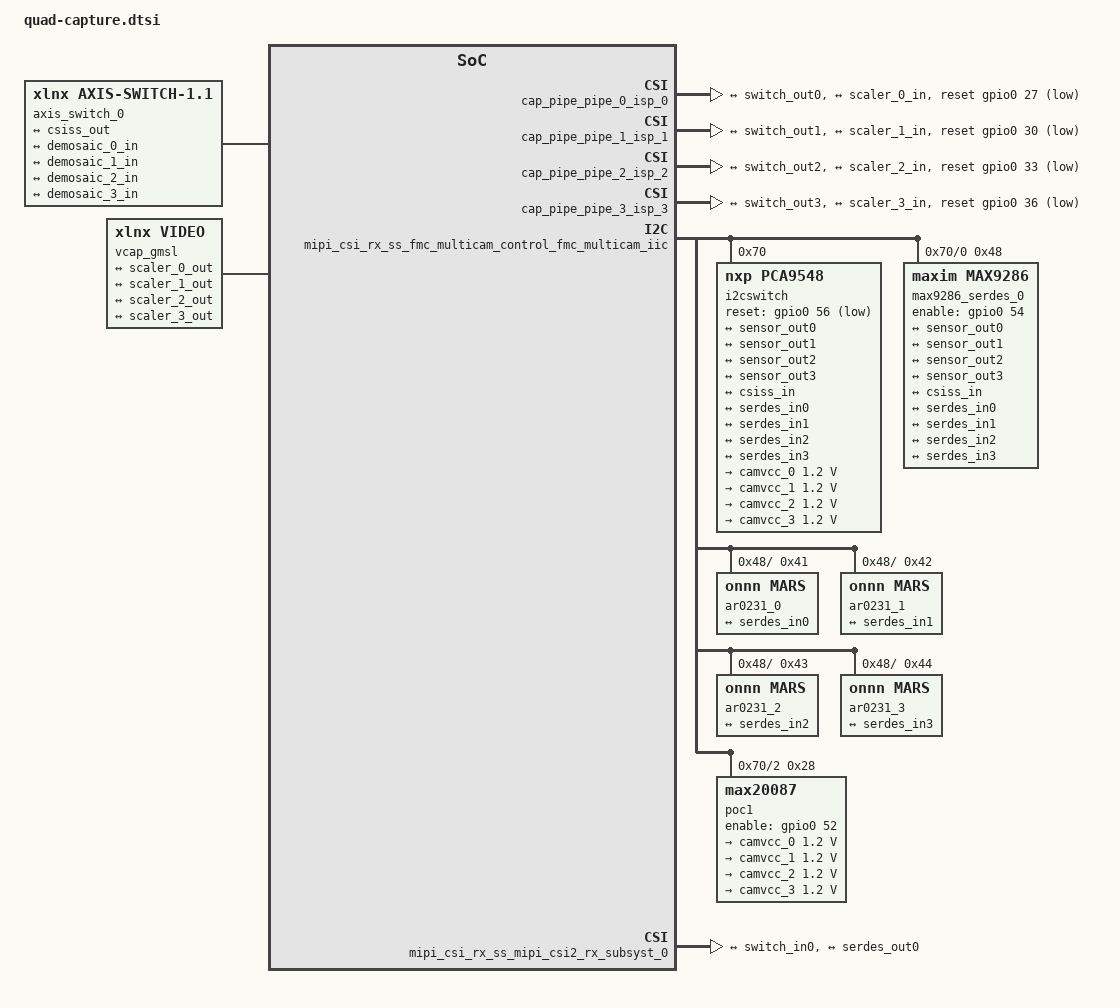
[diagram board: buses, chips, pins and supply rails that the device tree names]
#include <dt-bindings/media/xilinx-vip.h>

&amba_pl {
	cap_pipe_pipe_0_isp_0: isp@a40c0000 {
		clock-names = "ap_clk";
		clocks = <&misc_clk_0>;
		compatible = "xlnx,ISPPipeline_accel";
		reg = <0x0 0xa40c0000 0x0 0x10000>;
		reset-gpios = <&gpio0 27 1>;
		xlnx,max-height = <1080>;
		xlnx,max-width = <1920>;
		xlnx,rgain = <0xbe>;
		xlnx,bgain = <0x80>;
		xlnx,pawb = <0x200>;
		xlnx,mode-reg = <1>;
		xlnx,s-axi-ctrl-addr-width = <6>;
		xlnx,s-axi-ctrl-data-width = <32>;
		ports {
			#address-cells = <1>;
			#size-cells = <0>;

			port@0 {
				reg = <0>;

				xlnx,video-width = <10>;
				xlnx,cfa-pattern = "grbg";

				demosaic_0_in: endpoint {
					remote-endpoint = <&switch_out0>;
				};
			};

			port@1 {
				reg = <1>;

				xlnx,video-width = <8>;

				demosaic_0_out: endpoint {
					remote-endpoint = <&scaler_0_in>;
				};
			};
		};
	};
	cap_pipe_pipe_0_v_scaler_0: scaler@a4080000 {
		compatible = "xlnx,v-vpss-scaler-2.2";
		reg = <0x0 0xa4080000 0x0 0x40000>;
		clock-names = "aclk_axis", "aclk_ctrl";
		clocks = <&misc_clk_0>, <&misc_clk_0>;
		xlnx,num-hori-taps = <6>;
		xlnx,num-vert-taps = <6>;
		xlnx,pix-per-clk = <2>;
		reset-gpios = <&gpio0 28 1>;
		xlnx,max-width = <1920>;
		xlnx,max-height = <1080>;

		ports {
			#address-cells = <1>;
			#size-cells = <0>;

			port@0 {
				reg = <0>;
				xlnx,video-format = <XVIP_VF_RBG>;
				xlnx,video-width = <8>;

				scaler_0_in: endpoint {
				        remote-endpoint = <&demosaic_0_out>;
				};
			};
			port@1 {
				reg = <1>;
				xlnx,video-format = <XVIP_VF_YUV_422>;
				xlnx,video-width = <8>;

				scaler_0_out: endpoint {
				        remote-endpoint = <&vcap_gmsl_in0>;
				};
			};
		};
	};

	cap_pipe_pipe_0_v_frmbuf_wr_0: v_frmbuf_wr@a40D0000 {
		#dma-cells = <1>;
		clock-names = "ap_clk";
		clocks = <&misc_clk_0>;
		compatible = "xlnx,axi-frmbuf-wr-v2.1";
		interrupt-names = "interrupt";
		interrupt-parent = <&gic>;
		interrupts = <0 92 4>;
		reg = <0x0 0xa40D0000 0x0 0x10000>;
		reset-gpios = <&gpio0 29 1>;
		xlnx,dma-addr-width = <64>;
		xlnx,dma-align = <16>;
		xlnx,max-height = <1080>;
		xlnx,max-width = <1920>;
		xlnx,pixels-per-clock = <2>;
		xlnx,s-axi-ctrl-addr-width = <0x7>;
		xlnx,s-axi-ctrl-data-width = <0x20>;
		xlnx,vid-formats = "rgb888", "yuyv";
		xlnx,video-width = <8>;
	};
	cap_pipe_pipe_1_isp_1: isp@a40e0000 {
		clock-names = "ap_clk";
		clocks = <&misc_clk_0>;
		compatible = "xlnx,ISPPipeline_accel";
		reg = <0x0 0xa40e0000 0x0 0x10000>;
		reset-gpios = <&gpio0 30 1>;
		xlnx,max-height = <1080>;
		xlnx,max-width = <1920>;
		xlnx,rgain = <0xbe>;
		xlnx,bgain = <0x80>;
		xlnx,pawb = <0x200>;
		xlnx,mode-reg = <1>;
		xlnx,s-axi-ctrl-addr-width = <6>;
		xlnx,s-axi-ctrl-data-width = <32>;

		ports {
			#address-cells = <1>;
			#size-cells = <0>;

			port@0 {
				reg = <0>;

				xlnx,video-width = <10>;
				xlnx,cfa-pattern = "grbg";

				demosaic_1_in: endpoint {
					remote-endpoint = <&switch_out1>;
				};
			};

			port@1 {
				reg = <1>;

				xlnx,video-width = <8>;

				demosaic_1_out: endpoint {
					remote-endpoint = <&scaler_1_in>;
				};
			};
		};
	};
	cap_pipe_pipe_1_v_scaler_1: scaler@a4100000 {
		compatible = "xlnx,v-vpss-scaler-2.2";
		reg = <0x0 0xa4100000 0x0 0x40000>;
		clock-names = "aclk_axis", "aclk_ctrl";
		clocks = <&misc_clk_0>, <&misc_clk_0>;
		xlnx,num-hori-taps = <6>;
		xlnx,num-vert-taps = <6>;
		xlnx,pix-per-clk = <2>;
		reset-gpios = <&gpio0 31 1>;
		xlnx,max-width = <1920>;
		xlnx,max-height = <1080>;

		ports {
			#address-cells = <1>;
			#size-cells = <0>;

			port@0 {
				reg = <0>;
				xlnx,video-format = <XVIP_VF_RBG>;
				xlnx,video-width = <8>;

				scaler_1_in: endpoint {
				        remote-endpoint = <&demosaic_1_out>;
				};
			};
			port@1 {
				reg = <1>;
				xlnx,video-format = <XVIP_VF_YUV_422>;
				xlnx,video-width = <8>;

				scaler_1_out: endpoint {
				        remote-endpoint = <&vcap_gmsl_in1>;
				};
			};
		};
	};
	cap_pipe_pipe_1_v_frmbuf_wr_1: v_frmbuf_wr@a40f0000 {
		#dma-cells = <1>;
		clock-names = "ap_clk";
		clocks = <&misc_clk_0>;
		compatible = "xlnx,axi-frmbuf-wr-v2.1";
		interrupt-names = "interrupt";
		interrupt-parent = <&gic>;
		interrupts = <0 93 4>;
		reg = <0x0 0xa40f0000 0x0 0x10000>;
		reset-gpios = <&gpio0 32 1>;
		xlnx,dma-addr-width = <64>;
		xlnx,dma-align = <16>;
		xlnx,max-height = <1080>;
		xlnx,max-width = <1920>;
		xlnx,pixels-per-clock = <2>;
		xlnx,s-axi-ctrl-addr-width = <0x7>;
		xlnx,s-axi-ctrl-data-width = <0x20>;
		xlnx,vid-formats = "rgb888", "yuyv";
		xlnx,video-width = <8>;
	};
	cap_pipe_pipe_2_isp_2: isp@a4180000 {
		clock-names = "ap_clk";
		clocks = <&misc_clk_0>;
		compatible = "xlnx,ISPPipeline_accel";
		reg = <0x0 0xa4180000 0x0 0x10000>;
		reset-gpios = <&gpio0 33 1>;
		xlnx,max-height = <1080>;
		xlnx,max-width = <1920>;
		xlnx,rgain = <0xbe>;
		xlnx,bgain = <0x80>;
		xlnx,pawb = <0x200>;
		xlnx,mode-reg = <1>;
		xlnx,s-axi-ctrl-addr-width = <6>;
		xlnx,s-axi-ctrl-data-width = <32>;

		ports {
			#address-cells = <1>;
			#size-cells = <0>;

			port@0 {
				reg = <0>;

				xlnx,video-width = <10>;
				xlnx,cfa-pattern = "grbg";

				demosaic_2_in: endpoint {
					remote-endpoint = <&switch_out2>;
				};
			};

			port@1 {
				reg = <1>;

				xlnx,video-width = <8>;

				demosaic_2_out: endpoint {
					remote-endpoint = <&scaler_2_in>;
				};
			};
		};
	};
	cap_pipe_pipe_2_v_scaler_2: scaler@a4140000 {
		compatible = "xlnx,v-vpss-scaler-2.2";
		reg = <0x0 0xa4140000 0x0 0x40000>;
		clock-names = "aclk_axis", "aclk_ctrl";
		clocks = <&misc_clk_0>, <&misc_clk_0>;
		xlnx,num-hori-taps = <6>;
		xlnx,num-vert-taps = <6>;
		xlnx,pix-per-clk = <2>;
		reset-gpios = <&gpio0 34 1>;
		xlnx,max-width = <1920>;
		xlnx,max-height = <1080>;

		ports {
			#address-cells = <1>;
			#size-cells = <0>;

			port@0 {
				reg = <0>;
				xlnx,video-format = <XVIP_VF_RBG>;
				xlnx,video-width = <8>;

				scaler_2_in: endpoint {
				        remote-endpoint = <&demosaic_2_out>;
				};
			};
			port@1 {
				reg = <1>;
				xlnx,video-format = <XVIP_VF_YUV_422>;
				xlnx,video-width = <8>;

				scaler_2_out: endpoint {
				        remote-endpoint = <&vcap_gmsl_in2>;
				};
			};
		};
	};
	cap_pipe_pipe_2_v_frmbuf_wr_2: v_frmbuf_wr@a4190000 {
		#dma-cells = <1>;
		clock-names = "ap_clk";
		clocks = <&misc_clk_0>;
		compatible = "xlnx,axi-frmbuf-wr-v2.1";
		interrupt-names = "interrupt";
		interrupt-parent = <&gic>;
		interrupts = <0 94 4>;
		reg = <0x0 0xa4190000 0x0 0x10000>;
		reset-gpios = <&gpio0 35 1>;
		xlnx,dma-addr-width = <64>;
		xlnx,dma-align = <16>;
		xlnx,max-height = <1080>;
		xlnx,max-width = <1920>;
		xlnx,pixels-per-clock = <2>;
		xlnx,s-axi-ctrl-addr-width = <0x7>;
		xlnx,s-axi-ctrl-data-width = <0x20>;
		xlnx,vid-formats = "rgb888", "yuyv";
		xlnx,video-width = <8>;
	};
	cap_pipe_pipe_3_isp_3: isp@a41a0000 {
		clock-names = "ap_clk";
		clocks = <&misc_clk_0>;
		compatible = "xlnx,ISPPipeline_accel";
		reg = <0x0 0xa41a0000 0x0 0x10000>;
		reset-gpios = <&gpio0 36 1>;
		xlnx,max-height = <1080>;
		xlnx,max-width = <1920>;
		xlnx,rgain = <0xbe>;
		xlnx,bgain = <0x80>;
		xlnx,pawb = <0x200>;
		xlnx,mode-reg = <1>;
		xlnx,s-axi-ctrl-addr-width = <6>;
		xlnx,s-axi-ctrl-data-width = <32>;

		ports {
			#address-cells = <1>;
			#size-cells = <0>;

			port@0 {
				reg = <0>;

				xlnx,video-width = <10>;
				xlnx,cfa-pattern = "grbg";

				demosaic_3_in: endpoint {
					remote-endpoint = <&switch_out3>;
				};
			};

			port@1 {
				reg = <1>;

				xlnx,video-width = <8>;

				demosaic_3_out: endpoint {
					remote-endpoint = <&scaler_3_in>;
				};
			};
		};
	};
	cap_pipe_pipe_3_v_scaler_3: scaler@a41c0000 {
		compatible = "xlnx,v-vpss-scaler-2.2";
		reg = <0x0 0xa41c0000 0x0 0x40000>;
		clock-names = "aclk_axis", "aclk_ctrl";
		clocks = <&misc_clk_0>, <&misc_clk_0>;
		xlnx,num-hori-taps = <6>;
		xlnx,num-vert-taps = <6>;
		xlnx,pix-per-clk = <2>;
		reset-gpios = <&gpio0 37 1>;
		xlnx,max-width = <1920>;
		xlnx,max-height = <1080>;

		ports {
			#address-cells = <1>;
			#size-cells = <0>;

			port@0 {
				reg = <0>;
				xlnx,video-format = <XVIP_VF_RBG>;
				xlnx,video-width = <8>;

				scaler_3_in: endpoint {
				        remote-endpoint = <&demosaic_3_out>;
				};
			};
			port@1 {
				reg = <1>;
				xlnx,video-format = <XVIP_VF_YUV_422>;
				xlnx,video-width = <8>;

				scaler_3_out: endpoint {
				        remote-endpoint = <&vcap_gmsl_in3>;
				};
			};
		};
	};
	cap_pipe_pipe_3_v_frmbuf_wr_3: v_frmbuf_wr@a41b0000 {
		#dma-cells = <1>;
		clock-names = "ap_clk";
		clocks = <&misc_clk_0>;
		compatible = "xlnx,axi-frmbuf-wr-v2.1";
		interrupt-names = "interrupt";
		interrupt-parent = <&gic>;
		interrupts = <0 95 4>;
		reg = <0x0 0xa41b0000 0x0 0x10000>;
		reset-gpios = <&gpio0 38 1>;
		xlnx,dma-addr-width = <64>;
		xlnx,dma-align = <16>;
		xlnx,max-height = <1080>;
		xlnx,max-width = <1920>;
		xlnx,pixels-per-clock = <2>;
		xlnx,s-axi-ctrl-addr-width = <0x7>;
		xlnx,s-axi-ctrl-data-width = <0x20>;
		xlnx,vid-formats = "rgb888", "yuyv";
		xlnx,video-width = <8>;
	};

	mipi_csi_rx_ss_fmc_multicam_control_fmc_multicam_iic: i2c@a4070000 {
		#address-cells = <1>;
		#size-cells = <0>;
		clock-names = "s_axi_aclk";
		clocks = <&versal_clk 65>;
		compatible = "xlnx,xps-iic-2.00.a";
		interrupt-names = "iic2intc_irpt";
		interrupt-parent = <&gic>;
		interrupts = <0 91 4>;
		reg = <0x0 0xa4070000 0x0 0x10000>;

		i2cswitch@70 {
			compatible = "nxp,pca9548";
			#address-cells = <1>;
			#size-cells = <0>;
			reg = <0x70>;
			reset-gpios = <&gpio0 56 1>;

			i2c@0 {
				#address-cells = <1>;
				#size-cells = <0>;
				reg = <0>;

				max9286_serdes_0: serdes@48 {
					compatible = "maxim,max9286";
					reg = <0x48>;

					enable-gpios = <&gpio0 54 0>;
					gpio-controller;
					#gpio-cells = <2>;
					maxim,reverse-channel-microvolt = <100000>;

					ports {
						#address-cells = <1>;
						#size-cells = <0>;

						port@0 {
							reg = <0>;
							port-poc-supply = <&camvcc_0>;

							serdes_in0: endpoint {
								remote-endpoint = <&sensor_out0>;
							};
						};
						port@1 {
							reg = <1>;
							port-poc-supply = <&camvcc_1>;

							serdes_in1: endpoint {
								remote-endpoint = <&sensor_out1>;
							};
						};
						port@2 {
							reg = <2>;
							port-poc-supply = <&camvcc_2>;

							serdes_in2: endpoint {
								remote-endpoint = <&sensor_out2>;
							};
						};
						port@3 {
							reg = <3>;
							port-poc-supply = <&camvcc_3>;

							serdes_in3: endpoint {
								remote-endpoint = <&sensor_out3>;
							};
						};
						port@4 {
							reg = <4>;

							serdes_out0: endpoint {
								data-lanes = <1 2 3 4>;
								remote-endpoint = <&csiss_in>;
							};
						};
					};

					i2c-mux {
						#address-cells = <1>;
						#size-cells = <0>;

						i2c@0 {
							#address-cells = <1>;
							#size-cells = <0>;
							reg = <0>;
							poc = <3>;

							ar0231_0: sensor@41 {
								compatible = "onnn,mars";
								reg = <0x41>, <0x11>;

								port {
									sensor_out0: endpoint {
										remote-endpoint = <&serdes_in0>;
									};
								};
							};
						};

						i2c@1 {
							#address-cells = <1>;
							#size-cells = <0>;
							reg = <1>;
							poc = <5>;

							ar0231_1: sensor@42 {
								compatible = "onnn,mars";
								reg = <0x42>, <0x12>;

								port {
									sensor_out1: endpoint {
										remote-endpoint = <&serdes_in1>;
									};
								};
							};
						};

						i2c@2 {
							#address-cells = <1>;
							#size-cells = <0>;
							reg = <2>;

							ar0231_2: sensor@43 {
								compatible = "onnn,mars";
								reg = <0x43>, <0x13>;

								port {
									sensor_out2: endpoint {
										remote-endpoint = <&serdes_in2>;
									};
								};
							};
						};

						i2c@3 {
							#address-cells = <1>;
							#size-cells = <0>;
							reg = <3>;

							ar0231_3: sensor@44 {
								compatible = "onnn,mars";
								reg = <0x44>, <0x14>;

								port {
									sensor_out3: endpoint {
										remote-endpoint = <&serdes_in3>;
									};
								};
							};
						};
					};
				};
			};

			i2c@2 {
				#address-cells = <1>;
				#size-cells = <0>;
				reg = <2>;

				poc1: poc@28 {
					compatible = "max20087";
					reg = <0x28>;
					enable-gpios = <&gpio0 52 0>;

					regulators {
						camvcc_0: OUT1 {
							regulator-name = "VOUT1";
							regulator-min-microvolt = <1200000>;
							regulator-max-microvolt = <1200000>;
							regulator-min-microamp	= <600000>;
							regulator-max-microamp	= <600000>;
						};
						camvcc_1: OUT2 {
							regulator-name = "VOUT2";
							regulator-min-microvolt = <1200000>;
							regulator-max-microvolt = <1200000>;
							regulator-min-microamp	= <600000>;
							regulator-max-microamp	= <600000>;
						};
						camvcc_2: OUT3 {
							regulator-name = "VOUT3";
							regulator-min-microvolt = <1200000>;
							regulator-max-microvolt = <1200000>;
							regulator-min-microamp	= <600000>;
							regulator-max-microamp	= <600000>;
						};
						camvcc_3: OUT4 {
							regulator-name = "VOUT4";
							regulator-min-microvolt = <1200000>;
							regulator-max-microvolt = <1200000>;
							regulator-min-microamp	= <600000>;
							regulator-max-microamp	= <600000>;
						};
					};
				};
			};
		};
	};

	mipi_csi_rx_ss_mipi_csi2_rx_subsyst_0: mipi_csi2_rx_subsystem@a4060000 {
		clock-names = "lite_aclk", "dphy_clk_200M", "video_aclk";
		clocks = <&versal_clk 65>, <&misc_clk_4>, <&misc_clk_0>;
		compatible = "xlnx,mipi-csi2-rx-subsystem-5.0";
		interrupt-names = "csirxss_csi_irq";
		interrupt-parent = <&gic>;
		interrupts = <0 90 4>;
		reg = <0x0 0xa4060000 0x0 0x10000>;
		xlnx,axis-tdata-width = <32>;
		xlnx,cal-mode = "NONE";
		xlnx,clk-io-swap = "false";
		xlnx,clk-lane-io-position = <0x0>;
		xlnx,clk-lp-io-swap = "false";
		xlnx,csi-en-activelanes = "true";
		xlnx,csi-en-crc = "true";
		xlnx,csi-filter-userdatatype = "true";
		xlnx,csi-opt1-regs = "false";

		xlnx,csi-pxl-format = <0x2c>;
		xlnx,csi2rx-dbg = <0x0>;
		xlnx,data-lane0-io-position = <0x2>;
		xlnx,data-lane1-io-position = <0x4>;
		xlnx,data-lane2-io-position = <0x6>;
		xlnx,data-lane3-io-position = <0x8>;
		xlnx,dl0-io-swap = "false";
		xlnx,dl0-lp-io-swap = "false";
		xlnx,dl1-io-swap = "false";
		xlnx,dl1-lp-io-swap = "false";
		xlnx,dl2-io-swap = "false";
		xlnx,dl2-lp-io-swap = "false";
		xlnx,dl3-io-swap = "false";
		xlnx,dl3-lp-io-swap = "false";
		xlnx,dphy-lanes = <0x4>;
		xlnx,dphy-mode = "SLAVE";
		xlnx,en-active-lanes ;
		xlnx,en-bg0-pin0 = "false";
		xlnx,en-bg0-pin6 = "false";
		xlnx,en-bg1-pin0 = "false";
		xlnx,en-bg1-pin6 = "false";
		xlnx,en-bg2-pin0 = "false";
		xlnx,en-bg2-pin6 = "false";
		xlnx,en-bg3-pin0 = "false";
		xlnx,en-bg3-pin6 = "false";
		xlnx,en-clk300m = "false";
		xlnx,en-csi-v2-0 = "false";
		xlnx,en-exdesigns = "false";
		xlnx,en-timeout-regs = "false";
		xlnx,esc-timeout = <0x6400>;
		xlnx,exdes-board = "ZCU102";
		xlnx,exdes-config = "MIPI_Video_Pipe_Camera_to_Display";
		xlnx,exdes-fmc = "LI-IMX274MIPI-FMC V1.0 Single Sensor";
		xlnx,fifo-rd-en-control = "true";
		xlnx,hs-line-rate = <0x5dc>;
		xlnx,hs-settle-ns = <0x8d>;
		xlnx,hs-timeout = <0x10005>;
		xlnx,idly-group-name = "mipi_csi2rx_idly_group";
		xlnx,idly-tap = <0x1>;
		xlnx,init = <0x186a0>;
		xlnx,is-7series = "false";
		xlnx,is-versal = "true";
		xlnx,max-lanes = <4>;
		xlnx,mipi-slv-int = <0x0>;
		xlnx,ppc = <2>;
		xlnx,rcve-deskew-seq = "false";
		xlnx,share-idlyctrl = "false";
		xlnx,stretch-line-rate = <0x9c4>;
		xlnx,vc = <4>;
		xlnx,vfb ;

		ports {
			#address-cells = <1>;
			#size-cells = <0>;

			port@1 {
				reg = <1>;

				xlnx,video-format = <12>;
				xlnx,video-width = <10>;
				xlnx,cfa-pattern = "rggb";

				csiss_out: endpoint {
					remote-endpoint = <&switch_in0>;
				};
			};
			port@0 {
				reg = <0>;

				xlnx,video-format = <12>;
				xlnx,video-width = <10>;
				xlnx,cfa-pattern = "rggb";

				csiss_in: endpoint {
					data-lanes = <1 2 3 4>;
					remote-endpoint = <&serdes_out0>;
				};
			};
		};
	};

	axis_switch_0: axis_switch@0 {

		compatible = "xlnx,axis-switch-1.1";

		xlnx,routing-mode = <0x0>;
		xlnx,num-si-slots = <0x1>;
		xlnx,num-mi-slots = <0x4>;
		clocks = <&misc_clk_0>;
		clock-names = "aclk";

		ports {
			#address-cells = <1>;
			#size-cells = <0>;
			port@0 {
				reg = <0>;
				xlnx,video-format = <12>;
				xlnx,video-width = <10>;
				switch_in0: endpoint {
					remote-endpoint = <&csiss_out>;
				};
			};
			port@1 {
				reg = <1>;
				xlnx,video-format = <12>;
				xlnx,video-width = <10>;
				switch_out0: endpoint {
					remote-endpoint = <&demosaic_0_in>;
				};
			};
			port@2 {
				reg = <2>;
				xlnx,video-format = <12>;
				xlnx,video-width = <10>;
				switch_out1: endpoint {
					remote-endpoint = <&demosaic_1_in>;
				};
			};
			port@3 {
				reg = <3>;
				xlnx,video-format = <12>;
				xlnx,video-width = <10>;
				switch_out2: endpoint {
					remote-endpoint = <&demosaic_2_in>;
				};
			};
			port@4 {
				reg = <4>;
				xlnx,video-format = <12>;
				xlnx,video-width = <10>;
				switch_out3: endpoint {
					remote-endpoint = <&demosaic_3_in>;
				};
			};
		};
	};

	vcap_gmsl {
		compatible = "xlnx,video";
		dmas = <&cap_pipe_pipe_0_v_frmbuf_wr_0 0>, <&cap_pipe_pipe_1_v_frmbuf_wr_1 0>, <&cap_pipe_pipe_2_v_frmbuf_wr_2 0>, <&cap_pipe_pipe_3_v_frmbuf_wr_3 0>;
		dma-names = "port0", "port1", "port2", "port3";

		ports {
			#address-cells = <1>;
			#size-cells = <0>;

			port@0 {
				reg = <0>;
				direction = "input";

				vcap_gmsl_in0: endpoint {
					remote-endpoint = <&scaler_0_out>;
				};
			};

			port@1 {
				reg = <1>;
				direction = "input";

				vcap_gmsl_in1: endpoint {
					remote-endpoint = <&scaler_1_out>;
				};
			};

			port@2 {
				reg = <2>;
				direction = "input";

				vcap_gmsl_in2: endpoint {
					remote-endpoint = <&scaler_2_out>;
				};
			};

			port@3 {
				reg = <3>;
				direction = "input";

				vcap_gmsl_in3: endpoint {
					remote-endpoint = <&scaler_3_out>;
				};
			};
		};
	};
};
